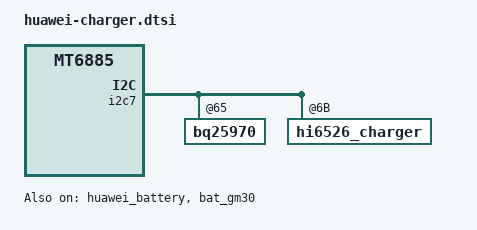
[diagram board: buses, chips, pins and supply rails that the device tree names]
#include "../huawei_charger/mt6885_abr_huawei_charger.dtsi"

&i2c7 {
	bq25970@65 {
		ic_role = <1>;
	};

	rt9426_battery@55{
		status = "disabled";
	};

	sm5450@6F {
		status = "disabled";
	};

	hi6526_charger@6B{
		status = "ok";
	};
};

&direct_charge_ic {
	ic_para1 =
		"0", "0", "0", "0", "0";
};

&direct_charger_sc {
	single_ic_ibat_th = <8000>;
	current_ratio =
		"3", "5", "20", "2", "-1",
		"3", "5", "20", "1", "8000",
		"0", "5", "20", "0", "0";
};

&huawei_battery {
	use_third_coul = <0>;
	status = "ok";
};

&bat_gm30 {
	status = "ok";
};

&huawei_power_proxy  {
	status = "disabled";
};

&huawei_power_supply {
	status = "disabled";
};

&battery_core {
	status = "disabled";
};

&battery_model {
	status = "disabled";
};

&battery_ui_capacity {
	status = "disabled";
};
